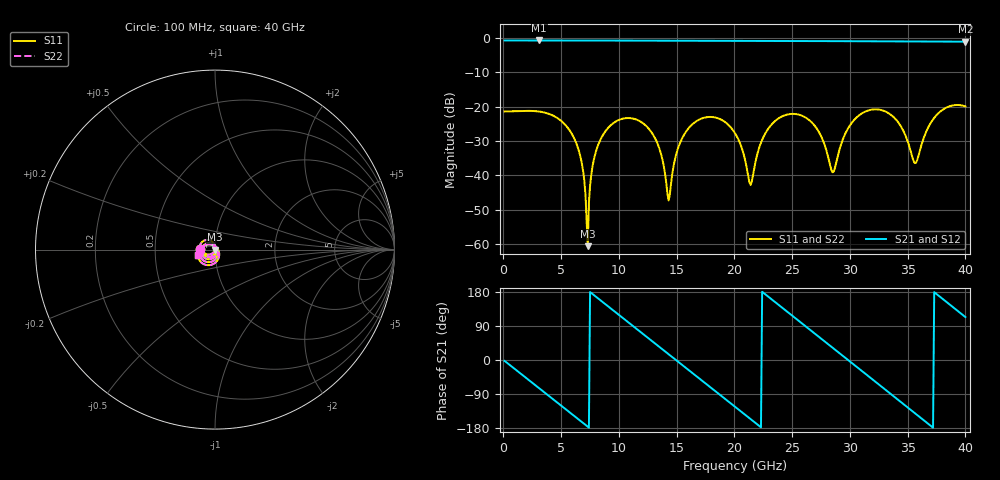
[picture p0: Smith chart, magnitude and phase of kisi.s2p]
! T_ts6_sl_10: Stripline In2, ThunderScope stack, w 0.183 mm, 10 mm
! stackup: ThunderScope Rev5.3 6-layer (FR408HR / FR-4, from the board file)
! ports: 1 near A, 2 far A
! kisi-fdtd, conformal, dfine 0.035 mm, 401464 cells
# Hz S RI R 50
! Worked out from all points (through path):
!   400 points, 100 MHz to 40 GHz, reference 50 ohm
!   highest |S21| = -0.75 dB at 3.1 GHz (marker M1); lowest = -1.1 dB at 40 GHz (marker M2)
!   group delay of S21, straight-line fit = 67.1 ps
!   lowest |S11| = -60.7 dB at 7.3 GHz (marker M3), VSWR 1.00, Z = 49.9 - j0.0755 ohm
!   |S11| at or under -10 dB: start of sweep to end of sweep
!   |S22| runs from -60.7 to -19.5 dB; largest |S21 - S12| = 0
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1e8  -0.0849 0.000936  0.9165 -0.0385  0.9165 -0.0385  -0.0849 0.000936
3.1e9  -0.0748 0.0394  0.2426 -0.885  0.2426 -0.885  -0.0748 0.0394
6.8e9  0.000906 0.0145  -0.88 -0.2545  -0.88 -0.2545  0.000906 0.0145
7.3e9  -0.000533 -0.000756  -0.9134 -0.0652  -0.9134 -0.0652  -0.000533 -0.000756
7.4e9  -0.0015 -0.00366  -0.9153 -0.0268  -0.9153 -0.0268  -0.0015 -0.00366
7.7e9  -0.00566 -0.0118  -0.9111 0.0886  -0.9111 0.0886  -0.00566 -0.0118
8.8e9  -0.0327 -0.0279  -0.7752 0.4853  -0.7752 0.4853  -0.0327 -0.0279
1.11e10  -0.0656 0.0156  -0.0407 0.9121  -0.0407 0.9121  -0.0656 0.0156
1.34e10  -0.00758 0.0261  0.7267 0.5502  0.7267 0.5502  -0.00758 0.0261
1.43e10  0.00426 0.000495  0.878 0.2424  0.878 0.2424  0.00426 0.000495
1.5e10  -0.00067 -0.0213  0.91 -0.0229  0.91 -0.0229  -0.00067 -0.0213
1.63e10  -0.0351 -0.041  0.7644 -0.4924  0.7644 -0.4924  -0.0351 -0.041
2.01e10  -0.0248 0.0309  -0.5127 -0.7469  -0.5127 -0.7469  -0.0248 0.0309
2.14e10  0.00693 0.00196  -0.8256 -0.3702  -0.8256 -0.3702  0.00693 0.00196
2.33e10  -0.0222 -0.0521  -0.8386 0.3345  -0.8386 0.3345  -0.0222 -0.0521
2.67e10  -0.0528 0.0255  0.2168 0.8727  0.2168 0.8727  -0.0528 0.0255
2.85e10  0.00913 0.00615  0.7566 0.4819  0.7566 0.4819  0.00913 0.00615
3.04e10  -0.0111 -0.0637  0.87 -0.2092  0.87 -0.2092  -0.0111 -0.0637
3.34e10  -0.0787 0.00662  0.0579 -0.8891  0.0579 -0.8891  -0.0787 0.00662
3.57e10  0.0132 0.00709  -0.7006 -0.5449  -0.7006 -0.5449  0.0132 0.00709
3.74e10  0.00297 -0.0717  -0.8832 0.053  -0.8832 0.053  0.00297 -0.0717
4e10  -0.0958 -0.0298  -0.3488 0.8092  -0.3488 0.8092  -0.0958 -0.0298
